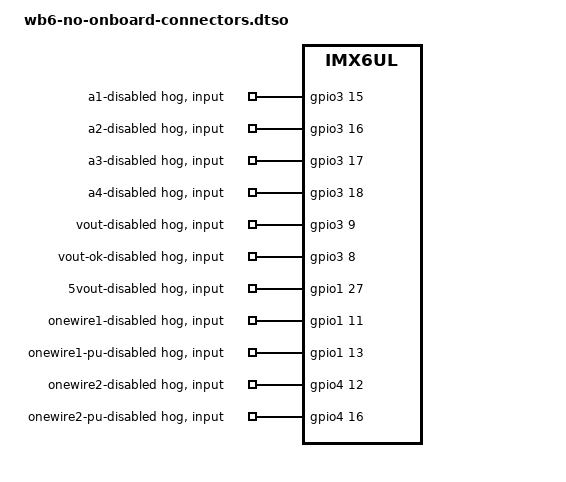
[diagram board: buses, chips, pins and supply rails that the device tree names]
/dts-v1/;
/plugin/;

#include "no-onboard-connectors.dtsi"

/ {
    compatible = "contactless,imx6ul-wirenboard61", "contactless,imx6ul-wirenboard60", "contactless,imx6ul-wirenboard-evk", "fsl,imx6ul-14x14-evk", "fsl,imx6ul";

    fragment-no-onboard-connectors-wb6-meta {
        target-path = "/wirenboard/gpios";

        __overlay__ {
            V_OUT {
                status = "disabled";
            };
            
            V_OUT_OK {
                status = "disabled";
            };
        };
    };

    fragment-no-onboard-connectors-hog-gpio3 {
        target = <&gpio3>;

        __overlay__ {
            wb-disabled-pins-a1 {
                gpio-hog;
                gpios = <15 0>;
                input;
                line-name = "a1-disabled";
            };

            wb-disabled-pins-a2 {
                gpio-hog;
                gpios = <16 0>;
                input;
                line-name = "a2-disabled";
            };

            wb-disabled-pins-a3 {
                gpio-hog;
                gpios = <17 0>;
                input;
                line-name = "a3-disabled";
            };

            wb-disabled-pins-a4 {
                gpio-hog;
                gpios = <18 0>;
                input;
                line-name = "a4-disabled";
            };

            wb-disabled-pins-vout {
                gpio-hog;
                gpios = <9 0>;
                input;
                line-name = "vout-disabled";
            };

            wb-disabled-pins-vout-ok {
                gpio-hog;
                gpios = <8 0>;
                input;
                line-name = "vout-ok-disabled";
            };
        };
    };

    fragment-no-onboard-connectors-hog-gpio1 {
        target = <&gpio1>;

        __overlay__ {
            wb-disabled-pins-5v-out {
                gpio-hog;
                gpios = <27 0>;
                input;
                line-name = "5vout-disabled";
            };

            wb-disabled-pins-onewire1 {
                gpio-hog;
                gpios = <11 0>;
                input;
                line-name = "onewire1-disabled";
            };

            wb-disabled-pins-onewire1-pu {
                gpio-hog;
                gpios = <13 0>;
                input;
                line-name = "onewire1-pu-disabled";
            };
        };
    };

    fragment-no-onboard-connectors-hog-gpio4 {
        target = <&gpio4>;

        __overlay__ {
            wb-disabled-pins-onewire2 {
                gpio-hog;
                gpios = <12 0>;
                input;
                line-name = "onewire2-disabled";
            };

            wb-disabled-pins-onewire2-pu {
                gpio-hog;
                gpios = <16 0>;
                input;
                line-name = "onewire2-pu-disabled";
            };
        };
    };

    fragment-no-onboard-connectors-disable-onewire1 {
        target = <&onewire_w1>;

        __overlay__ {
            status = "disabled";
        };
    };

    fragment-no-onboard-connectors-disable-onewire2 {
        target = <&onewire_w2>;

        __overlay__ {
            status = "disabled";
        };
    };
};
